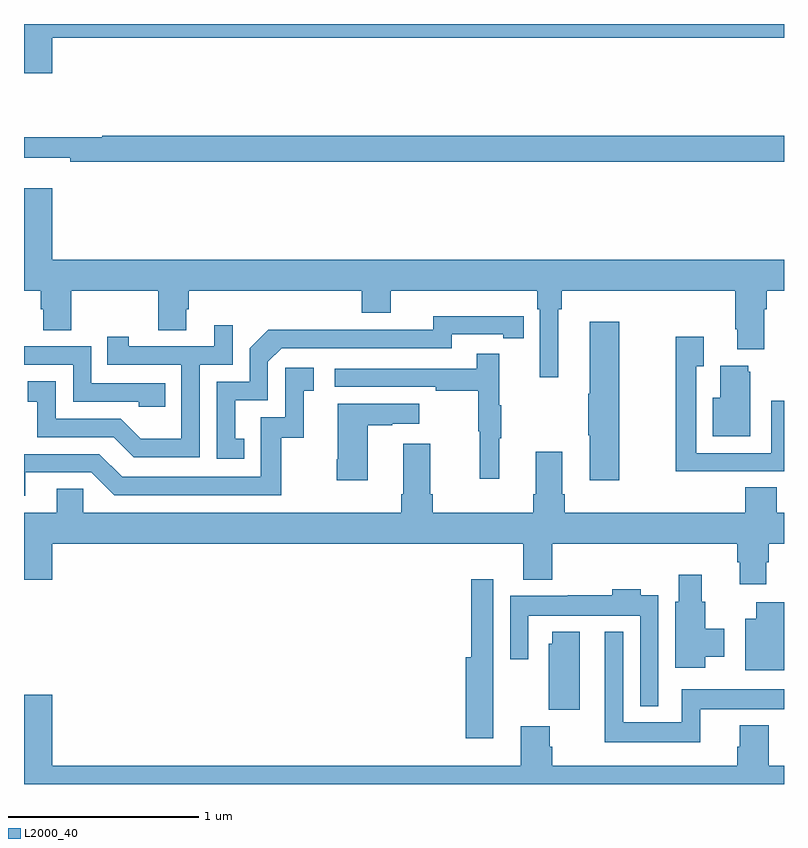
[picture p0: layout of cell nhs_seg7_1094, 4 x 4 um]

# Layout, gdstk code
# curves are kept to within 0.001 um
import gdstk
lib = gdstk.Library(unit=1e-6, precision=1e-09)
def P(c, l, *ps):  # polygons
    for p in ps: c.add(gdstk.Polygon(p, *l))
L2000_40 = (2000, 40)

nhs_seg7_1094 = lib.new_cell('nhs_seg7_1094')
P(nhs_seg7_1094, L2000_40, [(189.148,1021.928),(193,1021.928),(193,1022),(189,1022),(189,1021.74),(189.148,1021.74)],
  [(193,1021.412),(189.413,1021.412),(189.413,1021.405),(189,1021.405),(189,1021.295),(189.244,1021.295),(189.244,1021.276),(193,1021.276)],
  [(189.148,1021.135),(189,1021.135),(189,1020.596),(189.089,1020.596),(189.089,1020.498),(189.101,1020.498),(189.101,1020.388),(189.249,1020.388),(189.249,1020.596),(189.706,1020.596),(189.706,1020.388),(189.853,1020.388),(189.853,1020.498),(189.866,1020.498),(189.866,1020.596),(190.778,1020.596),(190.778,1020.479),(190.93,1020.479),(190.93,1020.596),(191.702,1020.596),(191.702,1020.5),(191.715,1020.5),(191.715,1020.141),(191.812,1020.141),(191.812,1020.5),(191.831,1020.5),(191.831,1020.596),(192.743,1020.596),(192.743,1020.394),(192.755,1020.394),(192.755,1020.287),(192.895,1020.287),(192.895,1020.5),(192.908,1020.5),(192.908,1020.596),(193,1020.596),(193,1020.76),(189.148,1020.76)],
  [(190.16,1019.817),(190.111,1019.817),(190.111,1020.021),(190.284,1020.021),(190.284,1020.222),(190.356,1020.294),(191.25,1020.294),(191.25,1020.366),(191.522,1020.366),(191.522,1020.346),(191.63,1020.346),(191.63,1020.462),(191.154,1020.463),(191.154,1020.39),(190.694,1020.39),(190.694,1020.392),(190.286,1020.392),(190.188,1020.294),(190.188,1020.117),(190.014,1020.117),(190.014,1019.712),(190.16,1019.712)],
  [(192.132,1020.433),(191.978,1020.433),(191.978,1020.053),(191.971,1020.053),(191.971,1019.836),(191.978,1019.836),(191.978,1019.598),(192.132,1019.598)],
  [(189.924,1020.207),(190.098,1020.207),(190.098,1020.415),(190.001,1020.415),(190.001,1020.303),(189.55,1020.303),(189.55,1020.355),(189.439,1020.355),(189.439,1020.207),(189.828,1020.207),(189.828,1019.818),(189.614,1019.818),(189.51,1019.922),(189.168,1019.922),(189.168,1020.121),(189.021,1020.121),(189.021,1020.011),(189.07,1020.011),(189.07,1019.826),(189.473,1019.826),(189.578,1019.721),(189.924,1019.721)],
  [(192.713,1019.646),(193,1019.646),(193,1020.016),(192.933,1020.016),(192.933,1019.742),(192.537,1019.742),(192.537,1020.199),(192.577,1020.199),(192.577,1020.355),(192.429,1020.355),(192.429,1019.645),(192.713,1019.645)],
  [(189.743,1020.108),(189.354,1020.108),(189.354,1020.303),(189,1020.303),(189,1020.207),(189.258,1020.207),(189.258,1020.012),(189.603,1020.012),(189.603,1019.985),(189.743,1019.985)],
  [(191.501,1019.819),(191.512,1019.819),(191.512,1019.993),(191.501,1019.993),(191.501,1020.265),(191.383,1020.265),(191.383,1020.186),(190.635,1020.186),(190.635,1020.09),(191.167,1020.09),(191.167,1020.07),(191.391,1020.07),(191.391,1019.856),(191.398,1019.856),(191.398,1019.607),(191.501,1019.607)],
  [(192.823,1020.171),(192.812,1020.171),(192.812,1020.202),(192.665,1020.202),(192.665,1020.034),(192.626,1020.034),(192.626,1019.831),(192.823,1019.831)],
  [(189.007,1019.64),(189.354,1019.64),(189.474,1019.52),(190.354,1019.52),(190.354,1019.823),(190.472,1019.823),(190.472,1020.069),(190.525,1020.069),(190.525,1020.19),(190.374,1020.19),(190.374,1019.931),(190.245,1019.931),(190.245,1019.616),(189.516,1019.616),(189.396,1019.736),(189,1019.736),(189,1019.517),(189.007,1019.517)],
  [(190.81,1019.887),(190.937,1019.887),(190.937,1019.897),(191.08,1019.897),(191.08,1020.001),(190.652,1020.001),(190.652,1019.71),(190.645,1019.71),(190.645,1019.598),(190.81,1019.598)],
  [(192.907,1019.166),(192.92,1019.166),(192.92,1019.264),(193,1019.264),(193,1019.428),(192.962,1019.428),(192.962,1019.561),(192.797,1019.561),(192.797,1019.428),(191.846,1019.428),(191.846,1019.524),(191.833,1019.524),(191.833,1019.749),(191.693,1019.749),(191.693,1019.524),(191.681,1019.524),(191.681,1019.428),(191.15,1019.428),(191.15,1019.524),(191.137,1019.524),(191.137,1019.791),(190.997,1019.791),(190.997,1019.524),(190.985,1019.524),(190.985,1019.428),(189.312,1019.428),(189.312,1019.555),(189.173,1019.555),(189.173,1019.428),(189,1019.428),(189,1019.076),(189.148,1019.076),(189.148,1019.264),(191.627,1019.264),(191.627,1019.075),(191.78,1019.075),(191.78,1019.264),(192.755,1019.264),(192.755,1019.166),(192.767,1019.166),(192.767,1019.052),(192.907,1019.052)],
  [(192.586,1018.67),(192.685,1018.67),(192.685,1018.818),(192.586,1018.818),(192.586,1018.959),(192.568,1018.959),(192.568,1019.101),(192.446,1019.101),(192.446,1018.959),(192.428,1018.959),(192.428,1018.611),(192.586,1018.611)],
  [(191.47,1018.562),(191.469,1018.562),(191.469,1019.077),(191.353,1019.077),(191.353,1018.666),(191.324,1018.666),(191.324,1018.242),(191.47,1018.242)],
  [(192.339,1018.993),(192.247,1018.993),(192.247,1019.026),(192.095,1019.026),(192.095,1018.993),(191.863,1018.993),(191.863,1018.99),(191.559,1018.99),(191.559,1018.656),(191.655,1018.656),(191.655,1018.886),(192.243,1018.886),(192.243,1018.409),(192.339,1018.409)],
  [(193,1018.957),(192.854,1018.957),(192.854,1018.87),(192.797,1018.87),(192.797,1018.598),(193,1018.598)],
  [(192.56,1018.394),(193,1018.394),(193,1018.498),(192.462,1018.498),(192.462,1018.324),(192.153,1018.324),(192.153,1018.801),(192.056,1018.801),(192.056,1018.22),(192.56,1018.22)],
  [(191.926,1018.801),(191.78,1018.801),(191.78,1018.737),(191.762,1018.737),(191.762,1018.39),(191.926,1018.39)],
  [(193,1018.096),(192.92,1018.096),(192.92,1018.309),(192.767,1018.309),(192.767,1018.197),(192.755,1018.197),(192.755,1018.096),(191.78,1018.096),(191.78,1018.196),(191.767,1018.196),(191.767,1018.305),(191.615,1018.305),(191.615,1018.096),(189.148,1018.096),(189.148,1018.471),(189,1018.471),(189,1018),(193,1018)])

lib.write_gds('nhs_seg7_1094.gds')
